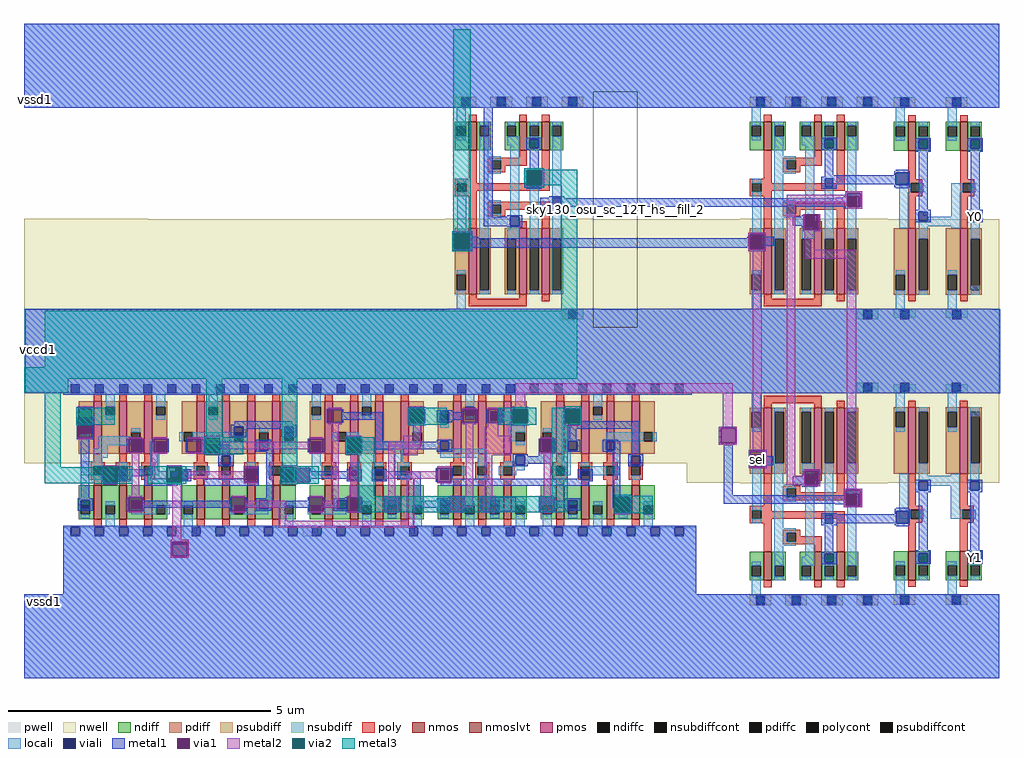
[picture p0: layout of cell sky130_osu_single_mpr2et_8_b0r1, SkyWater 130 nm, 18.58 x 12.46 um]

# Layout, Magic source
magic
tech sky130A
magscale 1 2
<< nwell >>
rect 1 1749 474 1750
rect 1 1120 3713 1749
rect 1 1115 616 1120
rect 1 1087 558 1115
rect 1 820 150 1087
rect 204 1035 260 1036
rect 446 850 558 1087
rect 2521 1086 2747 1120
rect 2523 744 2737 1086
rect 2759 800 2827 870
rect 3519 793 3549 828
rect 3668 744 3713 1120
<< ndiff >>
rect 3604 442 3638 476
<< locali >>
rect 1 2173 3714 2493
rect 3439 1722 3544 1758
rect 3440 1690 3441 1722
rect 3605 1461 3639 1495
rect 3286 1407 3322 1408
rect 1 1087 3713 1407
rect 2521 1086 2747 1087
rect 3284 1085 3329 1087
rect 3677 1086 3713 1087
rect 3604 998 3638 1032
rect 3440 772 3441 805
rect 3439 733 3538 772
rect 621 575 642 578
rect 621 549 660 575
rect 1081 549 1120 575
rect 1448 549 1487 572
rect 1816 549 1855 575
rect 2186 549 2226 573
rect 2521 572 2559 575
rect 2520 549 2559 572
rect 185 544 2559 549
rect 150 320 2559 544
rect 0 0 3713 320
<< viali >>
rect 3320 1879 3366 1925
rect 3604 1743 3638 1777
rect 3321 591 3367 637
rect 3604 442 3638 476
<< metal1 >>
rect 1 2173 3714 2493
rect 1751 1756 1785 2173
rect 1905 1934 1981 1943
rect 1905 1878 1914 1934
rect 1970 1878 1981 1934
rect 3320 1931 3366 1937
rect 3314 1925 3372 1931
rect 3314 1916 3320 1925
rect 3082 1909 3320 1916
rect 3094 1903 3320 1909
rect 1905 1869 1981 1878
rect 3048 1882 3320 1903
rect 3048 1869 3094 1882
rect 3314 1879 3320 1882
rect 3366 1879 3372 1925
rect 3314 1870 3372 1879
rect 3320 1867 3366 1870
rect 3127 1847 3192 1854
rect 3127 1829 3134 1847
rect 1965 1795 3134 1829
rect 3186 1795 3192 1847
rect 3127 1789 3192 1795
rect 1751 1755 1806 1756
rect 1751 1721 1841 1755
rect 2967 1709 2973 1767
rect 3025 1709 3031 1767
rect 3423 1762 3440 1794
rect 3438 1760 3440 1762
rect 1633 1694 1703 1700
rect 1633 1636 1639 1694
rect 1697 1681 1703 1694
rect 2757 1691 2825 1697
rect 2757 1681 2763 1691
rect 1697 1676 1706 1681
rect 2754 1676 2763 1681
rect 1697 1647 2763 1676
rect 1697 1640 2754 1647
rect 1697 1636 1703 1640
rect 1633 1630 1703 1636
rect 2757 1633 2763 1647
rect 2821 1681 2825 1691
rect 2821 1647 2854 1681
rect 2821 1633 2825 1647
rect 2757 1627 2825 1633
rect 2145 1405 2194 1407
rect 4 1085 3716 1405
rect 2646 953 2714 959
rect 2646 895 2652 953
rect 2710 895 2714 953
rect 2646 889 2714 895
rect 2664 698 2698 889
rect 2759 864 2827 870
rect 2759 806 2765 864
rect 2823 806 2827 864
rect 2759 800 2827 806
rect 2967 790 3031 796
rect 2967 772 2973 790
rect 2961 738 2973 772
rect 3025 738 3031 790
rect 2967 732 3031 738
rect 3122 716 3192 722
rect 3122 698 3128 716
rect 2664 664 3128 698
rect 3122 658 3128 664
rect 3186 658 3192 716
rect 3122 652 3192 658
rect 3321 645 3367 649
rect 3315 637 3373 645
rect 3315 624 3321 637
rect 3048 623 3082 624
rect 3094 623 3321 624
rect 3048 591 3321 623
rect 3367 591 3373 637
rect 3048 590 3373 591
rect 3315 583 3373 590
rect 621 575 642 576
rect 621 549 660 575
rect 1081 549 1120 575
rect 1448 549 1487 572
rect 1816 549 1855 576
rect 2521 572 2559 581
rect 3321 579 3367 583
rect 2520 549 2559 572
rect 185 544 2559 549
rect 150 521 2559 544
rect 150 465 565 521
rect 621 465 2559 521
rect 150 320 2559 465
rect 0 0 3714 320
<< via1 >>
rect 1914 1878 1970 1934
rect 3134 1795 3186 1847
rect 2973 1709 3025 1767
rect 1639 1636 1697 1694
rect 2763 1633 2821 1691
rect 2652 895 2710 953
rect 2765 806 2823 864
rect 2973 738 3025 790
rect 3128 658 3186 716
rect 565 465 621 521
<< metal2 >>
rect 1905 1934 1980 1943
rect 1905 1878 1914 1934
rect 1970 1878 1980 1934
rect 1905 1869 1980 1878
rect 3127 1847 3192 1854
rect 3127 1841 3134 1847
rect 2904 1807 3134 1841
rect 1630 1694 1706 1703
rect 1630 1636 1639 1694
rect 1697 1636 1706 1694
rect 1630 1627 1706 1636
rect 2757 1691 2825 1697
rect 2757 1633 2763 1691
rect 2821 1633 2825 1691
rect 2757 1627 2825 1633
rect 1871 1086 2698 1124
rect 1871 1036 1909 1086
rect 204 1035 260 1036
rect 1468 1035 1524 1036
rect 1860 1035 1916 1036
rect 2060 1035 2116 1036
rect 1871 1003 1909 1035
rect 2660 959 2698 1086
rect 2646 953 2714 959
rect 692 923 748 924
rect 1228 923 1284 924
rect 2646 895 2652 953
rect 2710 895 2714 953
rect 2646 889 2714 895
rect 2664 888 2698 889
rect 2774 870 2808 1627
rect 2759 864 2827 870
rect 980 810 1036 812
rect 2759 806 2765 864
rect 2823 806 2827 864
rect 2759 800 2827 806
rect 2904 772 2936 1807
rect 3127 1795 3134 1807
rect 3186 1795 3192 1847
rect 3127 1789 3192 1795
rect 2967 1709 2973 1767
rect 3025 1709 3031 1767
rect 2967 1702 3031 1709
rect 2973 1667 3007 1702
rect 2973 1632 3008 1667
rect 2973 1597 3168 1632
rect 2967 790 3031 796
rect 2967 772 2973 790
rect 564 527 598 766
rect 2904 738 2973 772
rect 3025 738 3031 790
rect 2967 732 3031 738
rect 3133 722 3168 1597
rect 3122 716 3192 722
rect 2252 699 2308 700
rect 3122 658 3128 716
rect 3186 658 3192 716
rect 3122 652 3192 658
rect 559 521 627 527
rect 559 465 565 521
rect 621 465 627 521
rect 559 459 627 465
<< via2 >>
rect 1914 1878 1970 1934
rect 1639 1636 1697 1694
<< metal3 >>
rect 1635 1703 1700 2472
rect 1905 1937 1980 1943
rect 1905 1934 2106 1937
rect 1905 1878 1914 1934
rect 1970 1878 2106 1934
rect 1905 1877 2106 1878
rect 1905 1869 1980 1877
rect 1630 1694 1706 1703
rect 1630 1636 1639 1694
rect 1697 1636 1706 1694
rect 1630 1627 1706 1636
rect 2046 1399 2106 1877
rect 79 1185 2106 1399
rect 1 1140 2106 1185
rect 1 1087 169 1140
rect 79 803 139 1087
rect 199 965 265 1032
rect 694 920 754 1140
rect 687 881 754 920
rect 687 852 751 881
rect 981 808 1041 1140
rect 1463 964 1530 1032
rect 1856 1025 1920 1032
rect 2056 1025 2120 1036
rect 1223 853 1288 920
rect 79 743 345 803
rect 975 745 1041 808
rect 975 740 1039 745
rect 2247 628 2312 700
use scs130hd_mpr2et_8  scs130hd_mpr2et_8_0
transform 1 0 150 0 1 559
box -48 -48 2440 592
use sky130_osu_sc_12T_hs__fill_2  sky130_osu_sc_12T_hs__fill_2_0
transform 1 0 2174 0 -1 2234
box -7 0 161 897
use sky130_osu_sc_12T_hs__fill_8  sky130_osu_sc_12T_hs__fill_8_0
transform 1 0 2345 0 -1 2234
box -9 0 179 897
use sky130_osu_sc_12T_hs__inv_1  sky130_osu_sc_12T_hs__inv_1_1
transform 1 0 3286 0 1 260
box -10 0 199 902
use sky130_osu_sc_12T_hs__inv_1  sky130_osu_sc_12T_hs__inv_1_2
transform 1 0 3483 0 1 260
box -10 0 199 902
use sky130_osu_sc_12T_hs__inv_1  sky130_osu_sc_12T_hs__inv_1_3
transform 1 0 3484 0 -1 2233
box -10 0 199 902
use sky130_osu_sc_12T_hs__inv_1  sky130_osu_sc_12T_hs__inv_1_4
transform 1 0 3286 0 -1 2233
box -10 0 199 902
use sky130_osu_sc_12T_hs__mux2_1  sky130_osu_sc_12T_hs__mux2_1_0
transform 1 0 2737 0 1 259
box -10 0 552 902
use sky130_osu_sc_12T_hs__mux2_1  sky130_osu_sc_12T_hs__mux2_1_1
transform 1 0 1614 0 -1 2234
box -10 0 552 902
use sky130_osu_sc_12T_hs__mux2_1  sky130_osu_sc_12T_hs__mux2_1_2
transform 1 0 2737 0 -1 2234
box -10 0 552 902
<< labels >>
rlabel metal2 2793 835 2793 835 1 sel
port 9 n
rlabel metal1 78 291 78 291 1 vssd1
port 6 n
rlabel metal1 46 291 46 291 1 vssd1
port 6 n
rlabel metal1 43 2204 43 2204 1 vssd1
port 6 n
rlabel metal1 45 2202 45 2202 1 vssd1
port 6 n
rlabel metal1 1965 1795 1985 1829 1 in
port 10 n
rlabel metal1 55 1251 55 1251 1 vccd1
port 5 n
rlabel metal1 45 1251 45 1251 1 vccd1
port 5 n
rlabel viali 3604 442 3638 476 1 Y1
port 12 n
rlabel viali 3604 1743 3638 1777 1 Y0
port 11 n
<< end >>

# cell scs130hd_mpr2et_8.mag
magic
tech sky130A
magscale 1 2
<< nwell >>
rect -48 260 2440 582
<< pwell >>
rect 32 -12 66 16
rect 28 -16 66 -12
rect 28 -18 62 -16
rect 424 -18 458 16
rect 912 -18 946 16
rect 1400 -18 1434 16
rect 1792 -18 1826 16
<< nmos >>
rect 116 46 146 176
rect 212 46 242 176
rect 308 46 338 176
rect 508 46 538 176
rect 604 46 634 176
rect 700 46 730 176
rect 796 46 826 176
rect 996 46 1026 176
rect 1092 46 1122 176
rect 1188 46 1218 176
rect 1284 46 1314 176
rect 1484 46 1514 176
rect 1580 46 1610 176
rect 1676 46 1706 176
rect 1876 46 1906 176
rect 1972 46 2002 176
rect 2068 46 2098 176
rect 2164 46 2194 176
<< pmos >>
rect 116 296 146 496
rect 212 296 242 496
rect 308 296 338 496
rect 508 296 538 496
rect 604 296 634 496
rect 700 296 730 496
rect 796 296 826 496
rect 996 296 1026 496
rect 1092 296 1122 496
rect 1188 296 1218 496
rect 1284 296 1314 496
rect 1484 296 1514 496
rect 1580 296 1610 496
rect 1676 296 1706 496
rect 1876 296 1906 496
rect 1972 296 2002 496
rect 2068 296 2098 496
rect 2164 296 2194 496
<< ndiff >>
rect 58 100 116 176
rect 58 66 66 100
rect 100 66 116 100
rect 58 46 116 66
rect 146 100 212 176
rect 146 66 162 100
rect 196 66 212 100
rect 146 46 212 66
rect 242 46 308 176
rect 338 100 396 176
rect 338 66 354 100
rect 388 66 396 100
rect 338 46 396 66
rect 450 100 508 176
rect 450 66 458 100
rect 492 66 508 100
rect 450 46 508 66
rect 538 46 604 176
rect 634 100 700 176
rect 634 66 650 100
rect 684 66 700 100
rect 634 46 700 66
rect 730 46 796 176
rect 826 100 884 176
rect 826 66 842 100
rect 876 66 884 100
rect 826 46 884 66
rect 938 100 996 176
rect 938 66 946 100
rect 980 66 996 100
rect 938 46 996 66
rect 1026 46 1092 176
rect 1122 100 1188 176
rect 1122 66 1138 100
rect 1172 66 1188 100
rect 1122 46 1188 66
rect 1218 100 1284 176
rect 1218 66 1234 100
rect 1268 66 1284 100
rect 1218 46 1284 66
rect 1314 100 1372 176
rect 1314 66 1330 100
rect 1364 66 1372 100
rect 1314 46 1372 66
rect 1426 100 1484 176
rect 1426 66 1434 100
rect 1468 66 1484 100
rect 1426 46 1484 66
rect 1514 100 1580 176
rect 1514 66 1530 100
rect 1564 66 1580 100
rect 1514 46 1580 66
rect 1610 100 1676 176
rect 1610 66 1626 100
rect 1660 66 1676 100
rect 1610 46 1676 66
rect 1706 100 1764 176
rect 1706 66 1722 100
rect 1756 66 1764 100
rect 1706 46 1764 66
rect 1818 100 1876 176
rect 1818 66 1826 100
rect 1860 66 1876 100
rect 1818 46 1876 66
rect 1906 100 1972 176
rect 1906 66 1922 100
rect 1956 66 1972 100
rect 1906 46 1972 66
rect 2002 100 2068 176
rect 2002 66 2018 100
rect 2052 66 2068 100
rect 2002 46 2068 66
rect 2098 100 2164 176
rect 2098 66 2114 100
rect 2148 66 2164 100
rect 2098 46 2164 66
rect 2194 100 2252 176
rect 2194 66 2210 100
rect 2244 66 2252 100
rect 2194 46 2252 66
<< pdiff >>
rect 58 406 116 496
rect 58 372 66 406
rect 100 372 116 406
rect 58 296 116 372
rect 146 476 212 496
rect 146 442 162 476
rect 196 442 212 476
rect 146 296 212 442
rect 242 378 308 496
rect 242 344 258 378
rect 292 344 308 378
rect 242 296 308 344
rect 338 476 396 496
rect 338 442 354 476
rect 388 442 396 476
rect 338 296 396 442
rect 450 378 508 496
rect 450 344 458 378
rect 492 344 508 378
rect 450 296 508 344
rect 538 476 604 496
rect 538 442 554 476
rect 588 442 604 476
rect 538 296 604 442
rect 634 378 700 496
rect 634 344 650 378
rect 684 344 700 378
rect 634 296 700 344
rect 730 378 796 496
rect 730 344 746 378
rect 780 344 796 378
rect 730 296 796 344
rect 826 378 884 496
rect 826 344 842 378
rect 876 344 884 378
rect 826 296 884 344
rect 938 476 996 496
rect 938 442 946 476
rect 980 442 996 476
rect 938 296 996 442
rect 1026 378 1092 496
rect 1026 344 1042 378
rect 1076 344 1092 378
rect 1026 296 1092 344
rect 1122 476 1188 496
rect 1122 442 1138 476
rect 1172 442 1188 476
rect 1122 296 1188 442
rect 1218 296 1284 496
rect 1314 378 1372 496
rect 1314 344 1330 378
rect 1364 344 1372 378
rect 1314 296 1372 344
rect 1426 446 1484 496
rect 1426 412 1434 446
rect 1468 412 1484 446
rect 1426 296 1484 412
rect 1514 476 1580 496
rect 1514 442 1530 476
rect 1564 442 1580 476
rect 1514 296 1580 442
rect 1610 296 1676 496
rect 1706 378 1764 496
rect 1706 344 1722 378
rect 1756 344 1764 378
rect 1706 296 1764 344
rect 1818 378 1876 496
rect 1818 344 1826 378
rect 1860 344 1876 378
rect 1818 296 1876 344
rect 1906 296 1972 496
rect 2002 476 2068 496
rect 2002 442 2018 476
rect 2052 442 2068 476
rect 2002 296 2068 442
rect 2098 296 2164 496
rect 2194 378 2252 496
rect 2194 344 2210 378
rect 2244 344 2252 378
rect 2194 296 2252 344
<< ndiffc >>
rect 66 66 100 100
rect 162 66 196 100
rect 354 66 388 100
rect 458 66 492 100
rect 650 66 684 100
rect 842 66 876 100
rect 946 66 980 100
rect 1138 66 1172 100
rect 1234 66 1268 100
rect 1330 66 1364 100
rect 1434 66 1468 100
rect 1530 66 1564 100
rect 1626 66 1660 100
rect 1722 66 1756 100
rect 1826 66 1860 100
rect 1922 66 1956 100
rect 2018 66 2052 100
rect 2114 66 2148 100
rect 2210 66 2244 100
<< pdiffc >>
rect 66 372 100 406
rect 162 442 196 476
rect 258 344 292 378
rect 354 442 388 476
rect 458 344 492 378
rect 554 442 588 476
rect 650 344 684 378
rect 746 344 780 378
rect 842 344 876 378
rect 946 442 980 476
rect 1042 344 1076 378
rect 1138 442 1172 476
rect 1330 344 1364 378
rect 1434 412 1468 446
rect 1530 442 1564 476
rect 1722 344 1756 378
rect 1826 344 1860 378
rect 2018 442 2052 476
rect 2210 344 2244 378
<< poly >>
rect 116 496 146 522
rect 212 496 242 522
rect 308 496 338 522
rect 508 496 538 522
rect 604 496 634 522
rect 700 496 730 522
rect 796 496 826 522
rect 996 496 1026 522
rect 1092 496 1122 522
rect 1188 496 1218 522
rect 1284 496 1314 522
rect 1484 496 1514 522
rect 1580 496 1610 522
rect 1676 496 1706 522
rect 1876 496 1906 522
rect 1972 496 2002 522
rect 2068 496 2098 522
rect 2164 496 2194 522
rect 116 264 146 296
rect 212 264 242 296
rect 308 264 338 296
rect 508 264 538 296
rect 604 264 634 296
rect 700 264 730 296
rect 796 264 826 296
rect 996 264 1026 296
rect 1092 264 1122 296
rect 1188 264 1218 296
rect 1284 264 1314 296
rect 1484 264 1514 296
rect 1580 264 1610 296
rect 1676 264 1706 296
rect 1876 264 1906 296
rect 1972 264 2002 296
rect 2068 264 2098 296
rect 2164 264 2194 296
rect 104 248 158 264
rect 104 214 114 248
rect 148 214 158 248
rect 104 198 158 214
rect 200 248 254 264
rect 200 214 210 248
rect 244 214 254 248
rect 200 198 254 214
rect 296 248 350 264
rect 296 214 306 248
rect 340 214 350 248
rect 296 198 350 214
rect 496 248 550 264
rect 496 214 506 248
rect 540 214 550 248
rect 496 198 550 214
rect 592 248 646 264
rect 592 214 602 248
rect 636 214 646 248
rect 592 198 646 214
rect 688 248 742 264
rect 688 214 698 248
rect 732 214 742 248
rect 688 198 742 214
rect 784 248 838 264
rect 784 214 794 248
rect 828 214 838 248
rect 784 198 838 214
rect 984 248 1038 264
rect 984 214 994 248
rect 1028 214 1038 248
rect 984 198 1038 214
rect 1080 248 1134 264
rect 1080 214 1090 248
rect 1124 214 1134 248
rect 1080 198 1134 214
rect 1176 248 1230 264
rect 1176 214 1186 248
rect 1220 214 1230 248
rect 1176 198 1230 214
rect 1272 248 1326 264
rect 1272 214 1282 248
rect 1316 214 1326 248
rect 1272 198 1326 214
rect 1472 248 1526 264
rect 1472 214 1482 248
rect 1516 214 1526 248
rect 1472 198 1526 214
rect 1568 248 1622 264
rect 1568 214 1578 248
rect 1612 214 1622 248
rect 1568 198 1622 214
rect 1664 248 1718 264
rect 1664 214 1674 248
rect 1708 214 1718 248
rect 1664 198 1718 214
rect 1864 248 1918 264
rect 1864 214 1874 248
rect 1908 214 1918 248
rect 1864 198 1918 214
rect 1960 248 2014 264
rect 1960 214 1970 248
rect 2004 214 2014 248
rect 1960 198 2014 214
rect 2056 248 2110 264
rect 2056 214 2066 248
rect 2100 214 2110 248
rect 2056 198 2110 214
rect 2152 248 2206 264
rect 2152 214 2162 248
rect 2196 214 2206 248
rect 2152 198 2206 214
rect 116 176 146 198
rect 212 176 242 198
rect 308 176 338 198
rect 508 176 538 198
rect 604 176 634 198
rect 700 176 730 198
rect 796 176 826 198
rect 996 176 1026 198
rect 1092 176 1122 198
rect 1188 176 1218 198
rect 1284 176 1314 198
rect 1484 176 1514 198
rect 1580 176 1610 198
rect 1676 176 1706 198
rect 1876 176 1906 198
rect 1972 176 2002 198
rect 2068 176 2098 198
rect 2164 176 2194 198
rect 116 20 146 46
rect 212 20 242 46
rect 308 20 338 46
rect 508 20 538 46
rect 604 20 634 46
rect 700 20 730 46
rect 796 20 826 46
rect 996 20 1026 46
rect 1092 20 1122 46
rect 1188 20 1218 46
rect 1284 20 1314 46
rect 1484 20 1514 46
rect 1580 20 1610 46
rect 1676 20 1706 46
rect 1876 20 1906 46
rect 1972 20 2002 46
rect 2068 20 2098 46
rect 2164 20 2194 46
<< polycont >>
rect 114 214 148 248
rect 210 214 244 248
rect 306 214 340 248
rect 506 214 540 248
rect 602 214 636 248
rect 698 214 732 248
rect 794 214 828 248
rect 994 214 1028 248
rect 1090 214 1124 248
rect 1186 214 1220 248
rect 1282 214 1316 248
rect 1482 214 1516 248
rect 1578 214 1612 248
rect 1674 214 1708 248
rect 1874 214 1908 248
rect 1970 214 2004 248
rect 2066 214 2100 248
rect 2162 214 2196 248
<< locali >>
rect 0 526 28 560
rect 62 526 120 560
rect 154 526 212 560
rect 246 526 304 560
rect 338 526 396 560
rect 430 526 488 560
rect 522 526 580 560
rect 614 526 672 560
rect 706 526 764 560
rect 798 526 856 560
rect 890 526 948 560
rect 982 526 1040 560
rect 1074 526 1132 560
rect 1166 526 1224 560
rect 1258 526 1316 560
rect 1350 526 1408 560
rect 1442 526 1500 560
rect 1534 526 1592 560
rect 1626 526 1684 560
rect 1718 526 1776 560
rect 1810 526 1868 560
rect 1902 526 1960 560
rect 1994 526 2052 560
rect 2086 526 2144 560
rect 2178 526 2236 560
rect 2270 526 2328 560
rect 2362 526 2392 560
rect 162 476 196 526
rect 162 426 196 442
rect 354 476 388 526
rect 354 426 388 442
rect 554 476 588 526
rect 554 426 588 442
rect 946 476 980 526
rect 946 426 980 442
rect 1138 476 1172 526
rect 1530 476 1564 526
rect 1434 456 1468 462
rect 1138 426 1172 442
rect 66 356 100 372
rect 258 378 292 394
rect 746 378 780 394
rect 134 328 258 362
rect 442 344 458 378
rect 492 344 650 378
rect 684 344 700 378
rect 134 316 168 328
rect 114 282 168 316
rect 330 310 354 344
rect 1330 378 1364 422
rect 2018 476 2052 526
rect 1530 426 1564 442
rect 1660 422 1722 456
rect 1434 396 1468 412
rect 1026 344 1042 378
rect 1076 344 1124 378
rect 1698 378 1756 422
rect 1898 422 1922 456
rect 2018 426 2052 442
rect 1698 344 1722 378
rect 842 328 876 344
rect 1124 310 1292 344
rect 1330 328 1364 344
rect 114 268 148 282
rect 66 248 148 268
rect 66 214 114 248
rect 114 198 148 214
rect 210 248 244 264
rect 330 248 364 310
rect 602 248 636 254
rect 290 214 306 248
rect 340 214 364 248
rect 440 232 506 248
rect 474 214 506 232
rect 540 214 556 248
rect 602 198 636 214
rect 698 248 732 264
rect 946 248 980 310
rect 1258 264 1292 310
rect 1722 328 1756 344
rect 1826 378 1860 394
rect 1468 310 1612 316
rect 1898 344 1932 422
rect 2066 344 2210 378
rect 2244 344 2260 378
rect 1898 310 1922 344
rect 1434 282 1612 310
rect 1090 248 1124 264
rect 778 214 794 248
rect 828 232 876 248
rect 828 214 842 232
rect 946 214 994 248
rect 1028 214 1044 248
rect 1186 248 1220 264
rect 1258 248 1316 264
rect 1578 248 1612 282
rect 1674 254 1722 268
rect 1674 248 1756 254
rect 1898 248 1932 310
rect 1258 214 1282 248
rect 1282 198 1316 214
rect 1434 232 1482 248
rect 1468 214 1482 232
rect 1516 214 1532 248
rect 1658 214 1674 248
rect 1708 234 1756 248
rect 1708 214 1724 234
rect 1858 214 1874 248
rect 1908 214 1932 248
rect 1970 248 2004 264
rect 2162 248 2196 254
rect 2004 214 2066 248
rect 2100 214 2116 248
rect 1578 198 1612 214
rect 2162 198 2196 214
rect 66 50 100 66
rect 162 100 196 116
rect 458 100 492 116
rect 292 86 354 100
rect 258 66 354 86
rect 388 66 404 100
rect 634 66 650 100
rect 684 86 746 100
rect 684 66 780 86
rect 842 100 876 116
rect 930 66 946 100
rect 980 86 1042 100
rect 980 66 1076 86
rect 1138 100 1172 116
rect 162 16 196 66
rect 458 16 492 66
rect 842 16 876 66
rect 1138 16 1172 66
rect 1234 50 1268 66
rect 1330 100 1364 116
rect 1330 16 1364 66
rect 1434 50 1468 66
rect 1530 100 1564 116
rect 1530 16 1564 66
rect 1626 50 1660 66
rect 1722 100 1756 116
rect 1722 16 1756 66
rect 1826 100 1860 116
rect 1826 16 1860 66
rect 1922 50 1956 66
rect 2018 100 2052 116
rect 2018 16 2052 66
rect 2114 50 2148 66
rect 2210 100 2244 116
rect 2210 16 2244 66
rect 0 -18 28 16
rect 62 -18 120 16
rect 154 -18 212 16
rect 246 -18 304 16
rect 338 -18 396 16
rect 430 -18 488 16
rect 522 -18 580 16
rect 614 -18 672 16
rect 706 -18 764 16
rect 798 -18 856 16
rect 890 -18 948 16
rect 982 -18 1040 16
rect 1074 -18 1132 16
rect 1166 -18 1224 16
rect 1258 -18 1316 16
rect 1350 -18 1408 16
rect 1442 -18 1500 16
rect 1534 -18 1592 16
rect 1626 -18 1684 16
rect 1718 -18 1776 16
rect 1810 -18 1868 16
rect 1902 -18 1960 16
rect 1994 -18 2052 16
rect 2086 -18 2144 16
rect 2178 -18 2236 16
rect 2270 -18 2328 16
rect 2362 -18 2392 16
<< viali >>
rect 28 526 62 560
rect 120 526 154 560
rect 212 526 246 560
rect 304 526 338 560
rect 396 526 430 560
rect 488 526 522 560
rect 580 526 614 560
rect 672 526 706 560
rect 764 526 798 560
rect 856 526 890 560
rect 948 526 982 560
rect 1040 526 1074 560
rect 1132 526 1166 560
rect 1224 526 1258 560
rect 1316 526 1350 560
rect 1408 526 1442 560
rect 1500 526 1534 560
rect 1592 526 1626 560
rect 1684 526 1718 560
rect 1776 526 1810 560
rect 1868 526 1902 560
rect 1960 526 1994 560
rect 2052 526 2086 560
rect 2144 526 2178 560
rect 2236 526 2270 560
rect 2328 526 2362 560
rect 66 406 100 428
rect 66 394 100 406
rect 1330 422 1364 456
rect 650 378 684 400
rect 650 366 684 378
rect 258 310 292 344
rect 354 310 388 344
rect 746 310 780 344
rect 842 378 876 400
rect 1434 446 1468 456
rect 1434 422 1468 446
rect 1626 422 1660 456
rect 1722 422 1756 456
rect 842 366 876 378
rect 1922 422 1956 456
rect 946 310 980 344
rect 1090 310 1124 344
rect 602 254 636 288
rect 210 214 244 232
rect 210 198 244 214
rect 440 198 474 232
rect 1434 310 1468 344
rect 1826 310 1860 344
rect 1922 310 1956 344
rect 2066 310 2100 344
rect 698 214 732 232
rect 698 198 732 214
rect 842 198 876 232
rect 1090 214 1124 232
rect 1090 198 1124 214
rect 1186 214 1220 232
rect 1722 254 1756 288
rect 1186 198 1220 214
rect 1434 198 1468 232
rect 2162 254 2196 288
rect 1970 214 2004 232
rect 1970 198 2004 214
rect 66 100 100 120
rect 66 86 100 100
rect 258 86 292 120
rect 746 86 780 120
rect 1042 86 1076 120
rect 1234 100 1268 120
rect 1234 86 1268 100
rect 1434 100 1468 120
rect 1434 86 1468 100
rect 1626 100 1660 120
rect 1626 86 1660 100
rect 1922 100 1956 120
rect 1922 86 1956 100
rect 2114 100 2148 120
rect 2114 86 2148 100
rect 28 -18 62 16
rect 120 -18 154 16
rect 212 -18 246 16
rect 304 -18 338 16
rect 396 -18 430 16
rect 488 -18 522 16
rect 580 -18 614 16
rect 672 -18 706 16
rect 764 -18 798 16
rect 856 -18 890 16
rect 948 -18 982 16
rect 1040 -18 1074 16
rect 1132 -18 1166 16
rect 1224 -18 1258 16
rect 1316 -18 1350 16
rect 1408 -18 1442 16
rect 1500 -18 1534 16
rect 1592 -18 1626 16
rect 1684 -18 1718 16
rect 1776 -18 1810 16
rect 1868 -18 1902 16
rect 1960 -18 1994 16
rect 2052 -18 2086 16
rect 2144 -18 2178 16
rect 2236 -18 2270 16
rect 2328 -18 2362 16
<< metal1 >>
rect 0 560 2392 592
rect 0 526 28 560
rect 62 526 120 560
rect 154 526 212 560
rect 246 526 304 560
rect 338 526 396 560
rect 430 526 488 560
rect 522 526 580 560
rect 614 526 672 560
rect 706 526 764 560
rect 798 526 856 560
rect 890 526 948 560
rect 982 526 1040 560
rect 1074 526 1132 560
rect 1166 526 1224 560
rect 1258 526 1316 560
rect 1350 526 1408 560
rect 1442 526 1500 560
rect 1534 526 1592 560
rect 1626 526 1684 560
rect 1718 526 1776 560
rect 1810 526 1868 560
rect 1902 526 1960 560
rect 1994 526 2052 560
rect 2086 526 2144 560
rect 2178 526 2236 560
rect 2270 526 2328 560
rect 2362 526 2392 560
rect 0 520 2392 526
rect 50 428 114 434
rect 50 410 66 428
rect 100 410 114 428
rect 50 358 56 410
rect 108 358 114 410
rect 652 406 872 420
rect 1002 414 1008 466
rect 1060 454 1066 466
rect 1060 426 1216 454
rect 1060 414 1066 426
rect 638 400 888 406
rect 638 366 650 400
rect 684 392 842 400
rect 684 366 696 392
rect 638 360 696 366
rect 830 366 842 392
rect 876 366 888 400
rect 830 360 888 366
rect 50 352 114 358
rect 66 126 98 352
rect 242 302 248 354
rect 300 302 306 354
rect 338 302 344 354
rect 396 302 402 354
rect 466 302 472 354
rect 524 330 530 354
rect 734 344 792 350
rect 524 302 632 330
rect 734 310 746 344
rect 780 342 792 344
rect 780 310 800 342
rect 734 304 800 310
rect 590 294 632 302
rect 590 288 648 294
rect 590 254 602 288
rect 636 254 648 288
rect 590 248 648 254
rect 686 242 744 248
rect 146 190 152 242
rect 204 238 210 242
rect 204 232 336 238
rect 204 198 210 232
rect 244 210 336 232
rect 428 232 486 238
rect 428 230 440 232
rect 244 198 256 210
rect 204 192 256 198
rect 308 202 336 210
rect 408 202 440 230
rect 308 198 440 202
rect 474 198 486 232
rect 686 202 688 242
rect 308 192 486 198
rect 204 190 210 192
rect 308 174 436 192
rect 532 190 688 202
rect 740 190 744 242
rect 532 174 744 190
rect 54 120 112 126
rect 54 86 66 120
rect 100 86 112 120
rect 54 80 112 86
rect 242 78 248 130
rect 300 118 306 130
rect 634 118 640 130
rect 300 90 640 118
rect 300 78 306 90
rect 634 78 640 90
rect 692 78 698 130
rect 772 126 800 304
rect 930 302 936 354
rect 988 302 994 354
rect 1074 302 1080 354
rect 1132 302 1138 354
rect 1188 342 1216 426
rect 1314 414 1320 466
rect 1372 414 1378 466
rect 1422 456 1480 462
rect 1422 422 1434 456
rect 1468 454 1480 456
rect 1514 454 1520 466
rect 1468 426 1520 454
rect 1468 422 1480 426
rect 1422 416 1480 422
rect 1514 414 1520 426
rect 1572 414 1578 466
rect 1610 414 1616 466
rect 1668 414 1674 466
rect 1706 414 1712 466
rect 1764 414 1770 466
rect 1906 414 1912 466
rect 1964 420 1970 466
rect 1964 414 2192 420
rect 1924 392 2192 414
rect 1422 344 1480 350
rect 1422 342 1434 344
rect 1188 314 1434 342
rect 1422 310 1434 314
rect 1468 310 1480 344
rect 1422 304 1480 310
rect 1810 302 1816 354
rect 1868 302 1874 354
rect 1924 350 1952 392
rect 1910 344 1968 350
rect 1910 310 1922 344
rect 1956 310 1968 344
rect 1910 304 1968 310
rect 2054 344 2112 350
rect 2054 310 2066 344
rect 2100 342 2112 344
rect 2100 310 2120 342
rect 2054 304 2120 310
rect 1710 288 1768 294
rect 1710 254 1722 288
rect 1756 286 1768 288
rect 1810 286 1856 302
rect 1756 258 1856 286
rect 1756 254 1768 258
rect 1710 248 1768 254
rect 878 238 884 242
rect 830 232 884 238
rect 830 198 842 232
rect 876 198 884 232
rect 830 192 884 198
rect 878 190 884 192
rect 936 230 942 242
rect 1078 232 1136 238
rect 1078 230 1090 232
rect 936 202 1090 230
rect 936 190 942 202
rect 1078 198 1090 202
rect 1124 198 1136 232
rect 1078 192 1136 198
rect 1174 232 1232 238
rect 1174 198 1186 232
rect 1220 230 1232 232
rect 1220 202 1360 230
rect 1220 198 1232 202
rect 1174 192 1232 198
rect 734 120 800 126
rect 734 86 746 120
rect 780 118 800 120
rect 930 118 936 130
rect 780 90 936 118
rect 780 86 792 90
rect 734 80 792 86
rect 930 78 936 90
rect 988 78 994 130
rect 1074 126 1080 130
rect 1030 120 1080 126
rect 1030 86 1042 120
rect 1076 86 1080 120
rect 1030 80 1080 86
rect 1074 78 1080 80
rect 1132 78 1138 130
rect 1218 78 1224 130
rect 1276 78 1282 130
rect 1332 118 1360 202
rect 1418 190 1424 242
rect 1476 202 1482 242
rect 1958 232 2016 238
rect 1958 202 1970 232
rect 1476 198 1970 202
rect 2004 198 2016 232
rect 1476 192 2016 198
rect 1476 190 2000 192
rect 1436 174 2000 190
rect 2092 130 2120 304
rect 2164 294 2192 392
rect 2150 288 2208 294
rect 2150 254 2162 288
rect 2196 254 2208 288
rect 2150 248 2208 254
rect 1466 126 1472 130
rect 1422 120 1472 126
rect 1422 118 1434 120
rect 1332 90 1434 118
rect 1422 86 1434 90
rect 1468 86 1472 120
rect 1422 80 1472 86
rect 1466 78 1472 80
rect 1524 78 1530 130
rect 1586 78 1592 130
rect 1644 120 1722 130
rect 1660 86 1722 120
rect 1644 78 1722 86
rect 1810 78 1816 130
rect 1868 118 1874 130
rect 1910 120 1968 126
rect 1910 118 1922 120
rect 1868 90 1922 118
rect 1868 78 1874 90
rect 1910 86 1922 90
rect 1956 86 1968 120
rect 2092 90 2104 130
rect 1910 80 1968 86
rect 2098 78 2104 90
rect 2156 78 2162 130
rect 0 16 2392 22
rect 0 -18 28 16
rect 62 -18 120 16
rect 154 -18 212 16
rect 246 -18 304 16
rect 338 -18 396 16
rect 430 -18 488 16
rect 522 -18 580 16
rect 614 -18 672 16
rect 706 -18 764 16
rect 798 -18 856 16
rect 890 -18 948 16
rect 982 -18 1040 16
rect 1074 -18 1132 16
rect 1166 -18 1224 16
rect 1258 -18 1316 16
rect 1350 -18 1408 16
rect 1442 -18 1500 16
rect 1534 -18 1592 16
rect 1626 -18 1684 16
rect 1718 -18 1776 16
rect 1810 -18 1868 16
rect 1902 -18 1960 16
rect 1994 -18 2052 16
rect 2086 -18 2144 16
rect 2178 -18 2236 16
rect 2270 -18 2328 16
rect 2362 -18 2392 16
rect 0 -48 2392 -18
<< via1 >>
rect 56 394 66 410
rect 66 394 100 410
rect 100 394 108 410
rect 56 358 108 394
rect 1008 414 1060 466
rect 248 344 300 354
rect 248 310 258 344
rect 258 310 292 344
rect 292 310 300 344
rect 248 302 300 310
rect 344 344 396 354
rect 344 310 354 344
rect 354 310 388 344
rect 388 310 396 344
rect 344 302 396 310
rect 472 302 524 354
rect 152 190 204 242
rect 688 232 740 242
rect 688 198 698 232
rect 698 198 732 232
rect 732 198 740 232
rect 688 190 740 198
rect 248 120 300 130
rect 248 86 258 120
rect 258 86 292 120
rect 292 86 300 120
rect 248 78 300 86
rect 640 78 692 130
rect 936 344 988 354
rect 936 310 946 344
rect 946 310 980 344
rect 980 310 988 344
rect 936 302 988 310
rect 1080 344 1132 354
rect 1080 310 1090 344
rect 1090 310 1124 344
rect 1124 310 1132 344
rect 1080 302 1132 310
rect 1320 456 1372 466
rect 1320 422 1330 456
rect 1330 422 1364 456
rect 1364 422 1372 456
rect 1320 414 1372 422
rect 1520 414 1572 466
rect 1616 456 1668 466
rect 1616 422 1626 456
rect 1626 422 1660 456
rect 1660 422 1668 456
rect 1616 414 1668 422
rect 1712 456 1764 466
rect 1712 422 1722 456
rect 1722 422 1756 456
rect 1756 422 1764 456
rect 1712 414 1764 422
rect 1912 456 1964 466
rect 1912 422 1922 456
rect 1922 422 1956 456
rect 1956 422 1964 456
rect 1912 414 1964 422
rect 1816 344 1868 354
rect 1816 310 1826 344
rect 1826 310 1860 344
rect 1860 310 1868 344
rect 1816 302 1868 310
rect 884 190 936 242
rect 936 78 988 130
rect 1080 78 1132 130
rect 1224 120 1276 130
rect 1224 86 1234 120
rect 1234 86 1268 120
rect 1268 86 1276 120
rect 1224 78 1276 86
rect 1424 232 1476 242
rect 1424 198 1434 232
rect 1434 198 1468 232
rect 1468 198 1476 232
rect 1424 190 1476 198
rect 1472 78 1524 130
rect 1592 120 1644 130
rect 1592 86 1626 120
rect 1626 86 1644 120
rect 1592 78 1644 86
rect 1816 78 1868 130
rect 2104 120 2156 130
rect 2104 86 2114 120
rect 2114 86 2148 120
rect 2148 86 2156 120
rect 2104 78 2156 86
<< metal2 >>
rect 54 468 110 477
rect 54 410 110 412
rect 54 402 56 410
rect 108 402 110 410
rect 1008 466 1060 472
rect 1008 408 1060 414
rect 1318 468 1374 477
rect 542 360 598 365
rect 56 352 108 358
rect 248 354 300 360
rect 344 354 396 360
rect 248 296 300 302
rect 332 302 344 342
rect 332 296 396 302
rect 472 356 598 360
rect 472 354 542 356
rect 524 302 542 354
rect 472 300 542 302
rect 936 354 988 360
rect 598 314 936 342
rect 472 296 598 300
rect 936 296 988 302
rect 150 244 206 253
rect 150 178 206 188
rect 260 136 288 296
rect 332 230 360 296
rect 542 290 598 296
rect 394 244 450 253
rect 830 248 886 253
rect 332 202 394 230
rect 688 242 740 248
rect 450 202 688 230
rect 394 178 450 188
rect 688 184 740 190
rect 830 244 936 248
rect 886 242 936 244
rect 886 188 936 190
rect 830 184 936 188
rect 830 178 886 184
rect 248 130 300 136
rect 248 72 300 78
rect 640 130 692 136
rect 936 130 988 136
rect 692 90 848 118
rect 640 72 692 78
rect 820 42 848 90
rect 1020 118 1048 408
rect 1318 402 1374 412
rect 1520 466 1572 472
rect 1520 408 1572 414
rect 1616 466 1668 472
rect 1616 408 1668 414
rect 1710 468 1766 477
rect 1078 356 1134 365
rect 1332 364 1360 402
rect 1294 342 1360 364
rect 1078 290 1134 300
rect 1236 314 1360 342
rect 1092 136 1120 290
rect 1236 136 1264 314
rect 1294 290 1350 314
rect 1424 242 1476 248
rect 1308 202 1424 230
rect 988 90 1048 118
rect 1080 130 1132 136
rect 936 72 988 78
rect 1080 72 1132 78
rect 1224 130 1276 136
rect 1224 72 1276 78
rect 1308 42 1336 202
rect 1424 184 1476 190
rect 1532 136 1560 408
rect 1616 398 1656 408
rect 1710 402 1766 412
rect 1910 468 1966 477
rect 1910 402 1966 412
rect 1604 364 1656 398
rect 1604 290 1704 364
rect 1816 354 1868 360
rect 1816 296 1868 302
rect 1604 136 1632 290
rect 1828 136 1856 296
rect 1472 130 1560 136
rect 1524 90 1560 130
rect 1592 130 1644 136
rect 1472 72 1524 78
rect 1592 72 1644 78
rect 1816 130 1868 136
rect 1816 72 1868 78
rect 2102 132 2158 141
rect 2102 66 2158 76
rect 820 14 1336 42
<< via2 >>
rect 54 412 110 468
rect 1318 466 1374 468
rect 1318 414 1320 466
rect 1320 414 1372 466
rect 1372 414 1374 466
rect 1318 412 1374 414
rect 542 300 598 356
rect 150 242 206 244
rect 150 190 152 242
rect 152 190 204 242
rect 204 190 206 242
rect 150 188 206 190
rect 394 188 450 244
rect 830 242 886 244
rect 830 190 884 242
rect 884 190 886 242
rect 830 188 886 190
rect 1710 466 1766 468
rect 1710 414 1712 466
rect 1712 414 1764 466
rect 1764 414 1766 466
rect 1710 412 1766 414
rect 1078 354 1134 356
rect 1078 302 1080 354
rect 1080 302 1132 354
rect 1132 302 1134 354
rect 1078 300 1134 302
rect 1910 466 1966 468
rect 1910 414 1912 466
rect 1912 414 1964 466
rect 1964 414 1966 466
rect 1910 412 1966 414
rect 2102 130 2158 132
rect 2102 78 2104 130
rect 2104 78 2156 130
rect 2156 78 2158 130
rect 2102 76 2158 78
<< metal3 >>
rect 49 472 114 473
rect 1313 472 1379 473
rect 1706 472 1771 473
rect 1907 472 1971 473
rect 49 468 196 472
rect 49 412 54 468
rect 110 412 196 468
rect 49 406 196 412
rect 1313 468 1460 472
rect 1313 412 1318 468
rect 1374 412 1460 468
rect 1313 406 1460 412
rect 1654 468 1800 472
rect 1654 412 1710 468
rect 1766 412 1800 468
rect 1654 406 1800 412
rect 1860 468 1972 472
rect 1860 412 1910 468
rect 1966 412 1972 468
rect 1860 406 1972 412
rect 49 405 114 406
rect 1313 405 1379 406
rect 1706 405 1771 406
rect 537 360 603 361
rect 1073 360 1137 361
rect 537 356 684 360
rect 537 300 542 356
rect 598 300 684 356
rect 537 294 684 300
rect 1073 356 1184 360
rect 1073 300 1078 356
rect 1134 300 1184 356
rect 537 293 603 294
rect 1073 293 1184 300
rect 116 248 220 249
rect 390 248 455 249
rect 825 248 890 249
rect 116 244 262 248
rect 116 188 150 244
rect 206 188 262 244
rect 116 182 262 188
rect 322 244 468 248
rect 322 188 394 244
rect 450 188 468 244
rect 322 182 468 188
rect 825 244 972 248
rect 825 188 830 244
rect 886 188 972 244
rect 825 182 972 188
rect 390 181 455 182
rect 825 181 890 182
rect 1124 134 1184 293
rect 1860 134 1920 406
rect 1124 74 1920 134
rect 2097 136 2162 137
rect 2097 132 2244 136
rect 2097 76 2102 132
rect 2158 76 2244 132
rect 2097 70 2244 76
rect 2097 69 2162 70
<< labels >>
flabel nwell s 1792 526 1826 560 0 FreeSans 100 0 0 0 VPB
port 1 nsew
flabel nwell s 1400 526 1434 560 0 FreeSans 100 0 0 0 VPB
port 1 nsew
flabel nwell s 912 526 946 560 0 FreeSans 100 0 0 0 VPB
port 1 nsew
flabel nwell s 424 526 458 560 0 FreeSans 100 0 0 0 VPB
port 1 nsew
flabel nwell s 32 526 66 560 0 FreeSans 100 0 0 0 VPB
port 1 nsew
flabel pwell s 1792 -16 1826 16 0 FreeSans 100 0 0 0 VNB
port 2 nsew
flabel pwell s 1400 -16 1434 16 0 FreeSans 100 0 0 0 VNB
port 2 nsew
flabel pwell s 912 -16 946 16 0 FreeSans 100 0 0 0 VNB
port 2 nsew
flabel pwell s 424 -16 458 16 0 FreeSans 100 0 0 0 VNB
port 2 nsew
flabel pwell s 32 -16 66 16 0 FreeSans 100 0 0 0 VNB
port 2 nsew
flabel comment s 0 0 0 0 0 FreeSans 100 0 0 0 mul2
rlabel metal3 s 322 182 468 248 4 B0
port 3 nsew
rlabel metal3 s 116 182 262 248 4 A0
port 4 nsew
rlabel metal3 s 538 294 684 360 4 B1
port 5 nsew
rlabel metal3 s 1654 406 1800 472 4 R1
port 6 nsew
rlabel metal3 s 1314 406 1460 472 4 R2
port 7 nsew
rlabel metal3 s 50 406 196 472 4 R0
port 8 nsew
rlabel metal3 s 2098 70 2244 136 4 R3
port 9 nsew
rlabel metal3 s 826 182 972 248 4 A1
port 10 nsew
flabel metal1 s 30 526 64 560 0 FreeSans 100 0 0 0 vpwr
port 11 nsew
flabel metal1 s 30 -16 64 16 0 FreeSans 100 0 0 0 vgnd
port 12 nsew
<< properties >>
string FIXED_BBOX 0 0 2392 544
<< end >>

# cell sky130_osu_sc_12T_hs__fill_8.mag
magic
tech sky130A
magscale 1 2
<< nwell >>
rect -9 485 179 897
<< locali >>
rect 0 827 176 888
rect 0 0 176 61
<< metal1 >>
rect 0 827 176 888
rect 0 0 176 61
<< labels >>
rlabel metal1 111 859 111 859 1 vccd1
rlabel metal1 112 28 112 28 1 vssd1
<< end >>

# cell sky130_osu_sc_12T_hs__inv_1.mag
magic
tech sky130A
magscale 1 2
<< nwell >>
rect -10 484 199 902
<< pmos >>
rect 80 520 110 772
<< nmoslvt >>
rect 80 114 110 224
<< ndiff >>
rect 26 170 80 224
rect 26 130 34 170
rect 68 130 80 170
rect 26 114 80 130
rect 110 170 163 224
rect 110 130 121 170
rect 155 130 163 170
rect 110 114 163 130
<< pdiff >>
rect 26 756 80 772
rect 26 696 34 756
rect 68 696 80 756
rect 26 520 80 696
rect 110 756 163 772
rect 110 560 121 756
rect 155 560 163 756
rect 110 520 163 560
<< ndiffc >>
rect 34 130 68 170
rect 121 130 155 170
<< pdiffc >>
rect 34 696 68 756
rect 121 560 155 756
<< psubdiff >>
rect 26 26 50 60
rect 84 26 108 60
rect 26 20 108 26
<< nsubdiff >>
rect 26 826 50 860
rect 84 826 110 860
<< psubdiffcont >>
rect 50 26 84 60
<< nsubdiffcont >>
rect 50 826 84 860
<< poly >>
rect 80 772 110 798
rect 80 398 110 520
rect 80 382 134 398
rect 80 348 90 382
rect 124 348 134 382
rect 80 332 134 348
rect 80 224 110 332
rect 80 88 110 114
<< polycont >>
rect 90 348 124 382
<< locali >>
rect 0 866 198 888
rect 0 826 50 866
rect 84 826 198 866
rect 34 756 68 826
rect 34 680 68 696
rect 120 756 155 772
rect 120 560 121 756
rect 120 543 155 560
rect 46 382 80 520
rect 120 490 154 543
rect 46 348 90 382
rect 124 348 140 382
rect 34 170 68 186
rect 34 60 68 130
rect 121 170 155 182
rect 121 114 155 130
rect 0 20 50 60
rect 84 20 198 60
rect 0 0 198 20
<< viali >>
rect 50 860 84 866
rect 50 832 84 860
rect 120 456 154 490
rect 121 182 155 216
rect 50 26 84 54
rect 50 20 84 26
<< metal1 >>
rect 0 866 198 888
rect 0 832 50 866
rect 84 832 198 866
rect 0 826 198 832
rect 108 490 166 496
rect 108 456 120 490
rect 154 456 166 490
rect 108 449 166 456
rect 108 448 154 449
rect 120 228 154 448
rect 108 216 167 228
rect 108 182 121 216
rect 155 182 167 216
rect 108 176 167 182
rect 0 54 198 60
rect 0 20 50 54
rect 84 20 198 54
rect 0 0 198 20
<< labels >>
rlabel metal1 150 344 150 344 1 Y
port 1 n
rlabel viali 68 48 68 48 1 vssd1
port 4 n
rlabel viali 68 840 68 840 1 vccd1
port 3 n
rlabel locali 64 370 64 370 1 A
port 2 n
<< end >>

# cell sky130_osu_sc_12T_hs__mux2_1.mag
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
